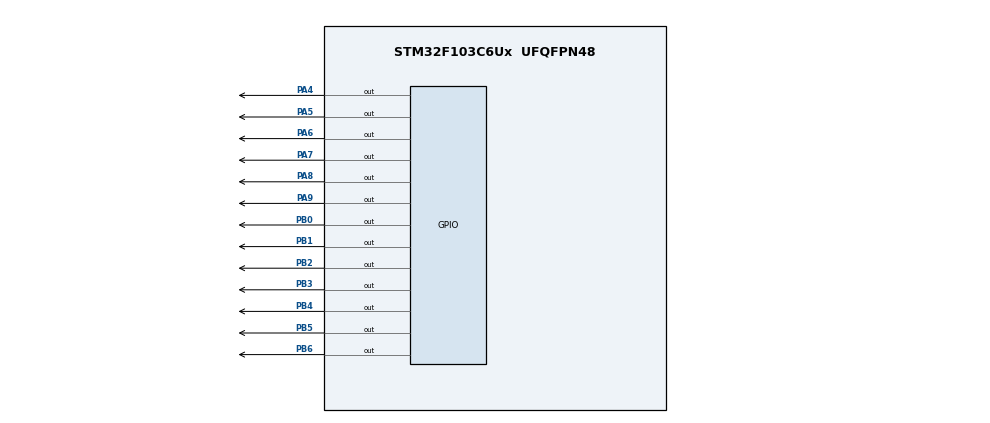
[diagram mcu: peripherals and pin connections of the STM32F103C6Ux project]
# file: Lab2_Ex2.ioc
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Mcu.Family=STM32F1
Mcu.Name=STM32F103C6Ux
Mcu.Package=UFQFPN48
NVIC.PriorityGroup=NVIC_PRIORITYGROUP_4
NVIC.TIM2_IRQn=true\:0\:0\:false\:false\:true\:true\:true
PA4.Signal=GPIO_Output
PA5.Signal=GPIO_Output
PA6.Signal=GPIO_Output
PA7.Signal=GPIO_Output
PA8.Signal=GPIO_Output
PA9.Signal=GPIO_Output
PB0.Signal=GPIO_Output
PB1.Signal=GPIO_Output
PB2.Signal=GPIO_Output
PB3.Signal=GPIO_Output
PB4.Signal=GPIO_Output
PB5.Signal=GPIO_Output
PB6.Signal=GPIO_Output
ProjectManager.HeapSize=0x200
ProjectManager.StackSize=0x400
ProjectManager.TargetToolchain=STM32CubeIDE
RCC.APB1Freq_Value=8000000
RCC.APB2Freq_Value=8000000
TIM2.Prescaler=7999
VP_SYS_VS_ND.Mode=No_Debug
VP_TIM2_VS_ClockSourceINT.Mode=Internal
board=custom

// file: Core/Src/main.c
/* USER CODE BEGIN Header */
/**
  ******************************************************************************
  * @file           : main.c
  * @brief          : Main program body
  ******************************************************************************
  * @attention
  *
  * <h2><center>&copy; Copyright (c) 2026 STMicroelectronics.
  * All rights reserved.</center></h2>
  *
  * This software component is licensed by ST under BSD 3-Clause license,
  * the "License"; You may not use this file except in compliance with the
  * License. You may obtain a copy of the License at:
  *                        opensource.org/licenses/BSD-3-Clause
  *
  ******************************************************************************
  */
/* USER CODE END Header */
#include "main.h"

TIM_HandleTypeDef htim2;

/* USER CODE BEGIN PV */
int counter_scan = 50;
int led_index = 0;
int counter_dot = 100;
/* USER CODE END PV */

void SystemClock_Config(void);
static void MX_TIM2_Init(void);
static void MX_GPIO_Init(void);
void display7SEG(int num);

/* USER CODE BEGIN 0 */
const uint8_t SEG_CODES[10] = {
    0x40,
    0x79,
    0x24,
    0x30,
    0x19,
    0x12,
    0x02,
    0x78,
    0x00,
    0x10
};

void display7SEG(int num) {
    if(num < 0 || num > 9) return;

    uint8_t code = SEG_CODES[num];

    HAL_GPIO_WritePin(GPIOB, GPIO_PIN_0, ((code >> 0) & 0x01) ? GPIO_PIN_SET : GPIO_PIN_RESET);
    HAL_GPIO_WritePin(GPIOB, GPIO_PIN_1, ((code >> 1) & 0x01) ? GPIO_PIN_SET : GPIO_PIN_RESET);
    HAL_GPIO_WritePin(GPIOB, GPIO_PIN_2, ((code >> 2) & 0x01) ? GPIO_PIN_SET : GPIO_PIN_RESET);
    HAL_GPIO_WritePin(GPIOB, GPIO_PIN_3, ((code >> 3) & 0x01) ? GPIO_PIN_SET : GPIO_PIN_RESET);
    HAL_GPIO_WritePin(GPIOB, GPIO_PIN_4, ((code >> 4) & 0x01) ? GPIO_PIN_SET : GPIO_PIN_RESET);
    HAL_GPIO_WritePin(GPIOB, GPIO_PIN_5, ((code >> 5) & 0x01) ? GPIO_PIN_SET : GPIO_PIN_RESET);
    HAL_GPIO_WritePin(GPIOB, GPIO_PIN_6, ((code >> 6) & 0x01) ? GPIO_PIN_SET : GPIO_PIN_RESET);
}
/* USER CODE END 0 */

int main(void)
{

  /* MCU Configuration--------------------------------------------------------*/

  /* Reset of all peripherals, Initializes the Flash interface and the Systick. */
  HAL_Init();

  /* Configure the system clock */
  SystemClock_Config();

  /* Initialize all configured peripherals */
  MX_TIM2_Init();
  MX_GPIO_Init();
  /* USER CODE BEGIN 2 */
  HAL_TIM_Base_Start_IT(&htim2);
  /* USER CODE END 2 */

  /* Infinite loop */
  while (1)
  {

  }
}

void SystemClock_Config(void)
{
  RCC_OscInitTypeDef RCC_OscInitStruct = {0};
  RCC_ClkInitTypeDef RCC_ClkInitStruct = {0};

  RCC_OscInitStruct.OscillatorType = RCC_OSCILLATORTYPE_HSI;
  RCC_OscInitStruct.HSIState = RCC_HSI_ON;
  RCC_OscInitStruct.HSICalibrationValue = RCC_HSICALIBRATION_DEFAULT;
  RCC_OscInitStruct.PLL.PLLState = RCC_PLL_NONE;
  if (HAL_RCC_OscConfig(&RCC_OscInitStruct) != HAL_OK)
  {
    Error_Handler();
  }
  RCC_ClkInitStruct.ClockType = RCC_CLOCKTYPE_HCLK|RCC_CLOCKTYPE_SYSCLK
                              |RCC_CLOCKTYPE_PCLK1|RCC_CLOCKTYPE_PCLK2;
  RCC_ClkInitStruct.SYSCLKSource = RCC_SYSCLKSOURCE_HSI;
  RCC_ClkInitStruct.AHBCLKDivider = RCC_SYSCLK_DIV1;
  RCC_ClkInitStruct.APB1CLKDivider = RCC_HCLK_DIV1;
  RCC_ClkInitStruct.APB2CLKDivider = RCC_HCLK_DIV1;

  if (HAL_RCC_ClockConfig(&RCC_ClkInitStruct, FLASH_LATENCY_0) != HAL_OK)
  {
    Error_Handler();
  }
}

static void MX_TIM2_Init(void)
{

  TIM_ClockConfigTypeDef sClockSourceConfig = {0};
  TIM_MasterConfigTypeDef sMasterConfig = {0};

  htim2.Instance = TIM2;
  htim2.Init.Prescaler = 7999;
  htim2.Init.CounterMode = TIM_COUNTERMODE_UP;
  htim2.Init.Period = 9;
  htim2.Init.ClockDivision = TIM_CLOCKDIVISION_DIV1;
  htim2.Init.AutoReloadPreload = TIM_AUTORELOAD_PRELOAD_DISABLE;
  if (HAL_TIM_Base_Init(&htim2) != HAL_OK)
  {
    Error_Handler();
  }
  sClockSourceConfig.ClockSource = TIM_CLOCKSOURCE_INTERNAL;
  if (HAL_TIM_ConfigClockSource(&htim2, &sClockSourceConfig) != HAL_OK)
  {
    Error_Handler();
  }
  sMasterConfig.MasterOutputTrigger = TIM_TRGO_RESET;
  sMasterConfig.MasterSlaveMode = TIM_MASTERSLAVEMODE_DISABLE;
  if (HAL_TIMEx_MasterConfigSynchronization(&htim2, &sMasterConfig) != HAL_OK)
  {
    Error_Handler();
  }

}

static void MX_GPIO_Init(void)
{
  GPIO_InitTypeDef GPIO_InitStruct = {0};

  /* GPIO Ports Clock Enable */
  __HAL_RCC_GPIOA_CLK_ENABLE();
  __HAL_RCC_GPIOB_CLK_ENABLE();

  /*Configure GPIO pin Output Level */
  HAL_GPIO_WritePin(GPIOA, GPIO_PIN_4, GPIO_PIN_RESET);
  HAL_GPIO_WritePin(GPIOA, GPIO_PIN_6|GPIO_PIN_7|GPIO_PIN_8|GPIO_PIN_9, GPIO_PIN_SET);

  /*Configure GPIO pin Output Level */
  HAL_GPIO_WritePin(GPIOB, GPIO_PIN_0|GPIO_PIN_1|GPIO_PIN_2|GPIO_PIN_3|GPIO_PIN_4
                          |GPIO_PIN_5|GPIO_PIN_6, GPIO_PIN_RESET);

  /*Configure GPIO pins : PA4 PA6 PA7 PA8 PA9 */
  GPIO_InitStruct.Pin = GPIO_PIN_4|GPIO_PIN_6|GPIO_PIN_7|GPIO_PIN_8|GPIO_PIN_9;
  GPIO_InitStruct.Mode = GPIO_MODE_OUTPUT_PP;
  GPIO_InitStruct.Pull = GPIO_NOPULL;
  GPIO_InitStruct.Speed = GPIO_SPEED_FREQ_LOW;
  HAL_GPIO_Init(GPIOA, &GPIO_InitStruct);

  /*Configure GPIO pins : PB0 PB1 PB2 PB3 PB4
                           PB5 PB6 */
  GPIO_InitStruct.Pin = GPIO_PIN_0|GPIO_PIN_1|GPIO_PIN_2|GPIO_PIN_3|GPIO_PIN_4
                          |GPIO_PIN_5|GPIO_PIN_6;
  GPIO_InitStruct.Mode = GPIO_MODE_OUTPUT_PP;
  GPIO_InitStruct.Pull = GPIO_NOPULL;
  GPIO_InitStruct.Speed = GPIO_SPEED_FREQ_LOW;
  HAL_GPIO_Init(GPIOB, &GPIO_InitStruct);

}

/* USER CODE BEGIN 4 */
void HAL_TIM_PeriodElapsedCallback(TIM_HandleTypeDef *htim)
{
    if (htim->Instance == TIM2) {
        counter_scan++;
        if (counter_scan >= 50) {
            counter_scan = 0;
            HAL_GPIO_WritePin(GPIOA, GPIO_PIN_6 | GPIO_PIN_7 | GPIO_PIN_8 | GPIO_PIN_9, GPIO_PIN_SET);
            switch(led_index) {
                case 0:
                    display7SEG(1);
                    HAL_GPIO_WritePin(GPIOA, GPIO_PIN_6, GPIO_PIN_RESET);
                    break;
                case 1:
                    display7SEG(2);
                    HAL_GPIO_WritePin(GPIOA, GPIO_PIN_7, GPIO_PIN_RESET);
                    break;
                case 2:
                    display7SEG(3);
                    HAL_GPIO_WritePin(GPIOA, GPIO_PIN_8, GPIO_PIN_RESET);
                    break;
                case 3:
                    display7SEG(0);
                    HAL_GPIO_WritePin(GPIOA, GPIO_PIN_9, GPIO_PIN_RESET);
                    break;
            }

            led_index++;
            if (led_index > 3) led_index = 0;
        }
        counter_dot++;
        if (counter_dot >= 100) {
            counter_dot = 0;
            HAL_GPIO_TogglePin(GPIOA, GPIO_PIN_4);
        }
    }
}
/* USER CODE END 4 */

void Error_Handler(void)
{
  __disable_irq();
  while (1)
  {
  }
}
